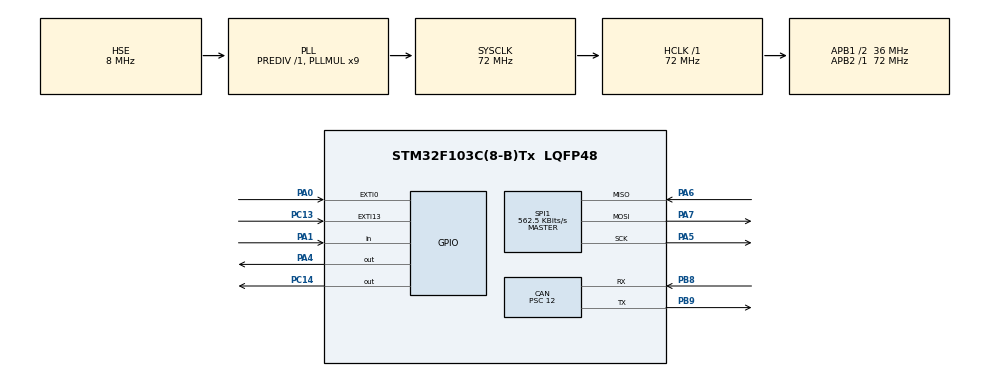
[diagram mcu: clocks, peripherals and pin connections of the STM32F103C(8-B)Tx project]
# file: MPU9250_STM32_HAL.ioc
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CAN.BS1=CAN_BS1_3TQ
CAN.BS2=CAN_BS2_2TQ
CAN.CalculateTimeBit=2000
CAN.CalculateTimeQuantum=333.33333333333337
CAN.Prescaler=12
CAN.SJW=CAN_SJW_2TQ
Mcu.Family=STM32F1
Mcu.Name=STM32F103C(8-B)Tx
Mcu.Package=LQFP48
NVIC.EXTI0_IRQn=true\:0\:0\:false\:true\:true\:2\:true
NVIC.EXTI15_10_IRQn=true\:0\:0\:false\:true\:true\:1\:true
NVIC.PriorityGroup=NVIC_PRIORITYGROUP_4
PA0-WKUP.Signal=GPXTI0
PA1.Signal=GPIO_Input
PA13.Mode=Serial_Wire
PA13.Signal=SYS_JTMS-SWDIO
PA14.Mode=Serial_Wire
PA14.Signal=SYS_JTCK-SWCLK
PA4.Signal=GPIO_Output
PA5.Mode=Full_Duplex_Master
PA5.Signal=SPI1_SCK
PA6.Mode=Full_Duplex_Master
PA6.Signal=SPI1_MISO
PA7.Mode=Full_Duplex_Master
PA7.Signal=SPI1_MOSI
PB8.Mode=Master
PB8.Signal=CAN_RX
PB9.Mode=Master
PB9.Signal=CAN_TX
PC13-TAMPER-RTC.GPIO_PuPd=GPIO_PULLDOWN
PC13-TAMPER-RTC.Signal=GPXTI13
PC14-OSC32_IN.Signal=GPIO_Output
PD0-OSC_IN.Mode=HSE-External-Oscillator
PD0-OSC_IN.Signal=RCC_OSC_IN
PD1-OSC_OUT.Mode=HSE-External-Oscillator
PD1-OSC_OUT.Signal=RCC_OSC_OUT
ProjectManager.HeapSize=0x200
ProjectManager.StackSize=0x400
ProjectManager.TargetToolchain=MDK-ARM V5
RCC.AHBFreq_Value=72000000
RCC.APB1CLKDivider=RCC_HCLK_DIV2
RCC.APB1Freq_Value=36000000
RCC.APB1TimFreq_Value=72000000
RCC.APB2Freq_Value=72000000
RCC.APB2TimFreq_Value=72000000
RCC.HCLKFreq_Value=72000000
RCC.PLLMUL=RCC_PLL_MUL9
RCC.PLLSourceVirtual=RCC_PLLSOURCE_HSE
RCC.SYSCLKFreq_VALUE=72000000
RCC.SYSCLKSource=RCC_SYSCLKSOURCE_PLLCLK
RCC.USBFreq_Value=48000000
RCC.USBPrescaler=RCC_USBCLKSOURCE_PLL_DIV1_5
SPI1.BaudRatePrescaler=SPI_BAUDRATEPRESCALER_128
SPI1.CalculateBaudRate=562.5 KBits/s
SPI1.Direction=SPI_DIRECTION_2LINES
SPI1.Mode=SPI_MODE_MASTER
SPI1.VirtualType=VM_MASTER
board=MPU9250_STM32_HAL

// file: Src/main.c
/**
  ******************************************************************************
  * @file           : main.c
  * @brief          : Main program body
  ******************************************************************************
  ** This notice applies to any and all portions of this file
  * that are not between comment pairs USER CODE BEGIN and
  * USER CODE END. Other portions of this file, whether
  * inserted by the user or by software development tools
  * are owned by their respective copyright owners.
  *
  * COPYRIGHT(c) 2018 STMicroelectronics
  *
  * Redistribution and use in source and binary forms, with or without modification,
  * are permitted provided that the following conditions are met:
  *   1. Redistributions of source code must retain the above copyright notice,
  *      this list of conditions and the following disclaimer.
  *   2. Redistributions in binary form must reproduce the above copyright notice,
  *      this list of conditions and the following disclaimer in the documentation
  *      and/or other materials provided with the distribution.
  *   3. Neither the name of STMicroelectronics nor the names of its contributors
  *      may be used to endorse or promote products derived from this software
  *      without specific prior written permission.
  *
  * THIS SOFTWARE IS PROVIDED BY THE COPYRIGHT HOLDERS AND CONTRIBUTORS "AS IS"
  * AND ANY EXPRESS OR IMPLIED WARRANTIES, INCLUDING, BUT NOT LIMITED TO, THE
  * IMPLIED WARRANTIES OF MERCHANTABILITY AND FITNESS FOR A PARTICULAR PURPOSE ARE
  * DISCLAIMED. IN NO EVENT SHALL THE COPYRIGHT HOLDER OR CONTRIBUTORS BE LIABLE
  * FOR ANY DIRECT, INDIRECT, INCIDENTAL, SPECIAL, EXEMPLARY, OR CONSEQUENTIAL
  * DAMAGES (INCLUDING, BUT NOT LIMITED TO, PROCUREMENT OF SUBSTITUTE GOODS OR
  * SERVICES; LOSS OF USE, DATA, OR PROFITS; OR BUSINESS INTERRUPTION) HOWEVER
  * CAUSED AND ON ANY THEORY OF LIABILITY, WHETHER IN CONTRACT, STRICT LIABILITY,
  * OR TORT (INCLUDING NEGLIGENCE OR OTHERWISE) ARISING IN ANY WAY OUT OF THE USE
  * OF THIS SOFTWARE, EVEN IF ADVISED OF THE POSSIBILITY OF SUCH DAMAGE.
  *
  ******************************************************************************
  */
#include "main.h"
#include "stm32f1xx_hal.h"

/* USER CODE BEGIN Includes */
#include "MPU9250_SPI.h"
#include "stdlib.h"
#include "string.h"

/* USER CODE END Includes */

CAN_HandleTypeDef hcan;

SPI_HandleTypeDef hspi1;

/* USER CODE BEGIN PV */
/* Private variables ---------------------------------------------------------*/
volatile uint16_t newDataFlag=0;
volatile uint16_t cdcPortOpenedFlag=0;
volatile uint16_t transmitFlag=0;
/* USER CODE END PV */

void SystemClock_Config(void);
static void MX_GPIO_Init(void);
static void MX_SPI1_Init(void);
static void MX_CAN_Init(void);
static void MX_NVIC_Init(void);

/* USER CODE BEGIN PFP */
/* Private function prototypes -----------------------------------------------*/

/* USER CODE END PFP */

int main(void)
{
  /* USER CODE BEGIN 1 */
	char outdata[100];
	int transmitGo=0;
	uint8_t canBuff[]="abcdefgh";
	struct mpuSensorData sensorData;
	struct DPL{
		int16_t h1;
		int16_t h2;
		struct mpuSensorData Data;
	};
	union{
		struct DPL Data;
		uint8_t buffer[24];
	  }Packet;
	union{
		struct{
			int16_t a;
			int16_t b;
			int16_t c;

		}Data;
		uint8_t buffer[6];
	}canMess;

	  CanTxMsgTypeDef TXmsg;
		CanRxMsgTypeDef RXmsg;
		hcan.pTxMsg=&TXmsg;
			TXmsg.IDE=CAN_ID_STD;
			TXmsg.RTR=CAN_RTR_DATA;
			TXmsg.StdId=2000;
			TXmsg.DLC=7;
  /* USER CODE END 1 */

  /* MCU Configuration----------------------------------------------------------*/

  /* Reset of all peripherals, Initializes the Flash interface and the Systick. */
  HAL_Init();

  /* Configure the system clock */
  SystemClock_Config();

  /* Initialize all configured peripherals */
  MX_GPIO_Init();
  MX_SPI1_Init();
  MX_CAN_Init();

  /* Initialize interrupts */
  MX_NVIC_Init();
  /* USER CODE BEGIN 2 */
	NSS_HIGH;
	uint8_t data=00;
	HAL_SPI_Transmit(&hspi1,&data,1,100); //init the spi interface pin states
	HAL_Delay(10);
	mpuBegin();
	//mpuMyCustomConfig();
  enableDataReadyInterrupt();
  /* USER CODE END 2 */

  /* Infinite loop */
  while (1)
  {

  /* USER CODE BEGIN 3 */
		if(newDataFlag){
			mpuReadSensor(&sensorData);
			if(transmitGo>4)								//100 Hz Data Transmit Rate
		  //if(transmitFlag==1)						//get in sync with the camera
			{
			transmitFlag=0;
			canMess.Data.a=sensorData.ax;
			canMess.Data.b=sensorData.ay;
			canMess.Data.c=sensorData.az;
			memcpy(&TXmsg.Data[0],canMess.buffer,6);
			TXmsg.Data[6]=1;
			HAL_CAN_Transmit(&hcan,100);
			canMess.Data.a=sensorData.gx;
			canMess.Data.b=sensorData.gy;
			canMess.Data.c=sensorData.gz;
			memcpy(&TXmsg.Data[0],canMess.buffer,6);
			TXmsg.Data[6]=2;
			HAL_CAN_Transmit(&hcan,100);
			canMess.Data.a=sensorData.hx;
			canMess.Data.b=sensorData.hy;
			canMess.Data.c=sensorData.hz;
			memcpy(&TXmsg.Data[0],canMess.buffer,6);
			TXmsg.Data[6]=3;
			HAL_CAN_Transmit(&hcan,100);
			transmitGo=0;
//		}else{
//			transmitGo++;
//		}
		newDataFlag=0;
		}

  }
  /* USER CODE END 3 */

}

void SystemClock_Config(void)
{

  RCC_OscInitTypeDef RCC_OscInitStruct;
  RCC_ClkInitTypeDef RCC_ClkInitStruct;

    /**Initializes the CPU, AHB and APB busses clocks
    */
  RCC_OscInitStruct.OscillatorType = RCC_OSCILLATORTYPE_HSE;
  RCC_OscInitStruct.HSEState = RCC_HSE_ON;
  RCC_OscInitStruct.HSEPredivValue = RCC_HSE_PREDIV_DIV1;
  RCC_OscInitStruct.HSIState = RCC_HSI_ON;
  RCC_OscInitStruct.PLL.PLLState = RCC_PLL_ON;
  RCC_OscInitStruct.PLL.PLLSource = RCC_PLLSOURCE_HSE;
  RCC_OscInitStruct.PLL.PLLMUL = RCC_PLL_MUL9;
  if (HAL_RCC_OscConfig(&RCC_OscInitStruct) != HAL_OK)
  {
    _Error_Handler(__FILE__, __LINE__);
  }

    /**Initializes the CPU, AHB and APB busses clocks
    */
  RCC_ClkInitStruct.ClockType = RCC_CLOCKTYPE_HCLK|RCC_CLOCKTYPE_SYSCLK
                              |RCC_CLOCKTYPE_PCLK1|RCC_CLOCKTYPE_PCLK2;
  RCC_ClkInitStruct.SYSCLKSource = RCC_SYSCLKSOURCE_PLLCLK;
  RCC_ClkInitStruct.AHBCLKDivider = RCC_SYSCLK_DIV1;
  RCC_ClkInitStruct.APB1CLKDivider = RCC_HCLK_DIV2;
  RCC_ClkInitStruct.APB2CLKDivider = RCC_HCLK_DIV1;

  if (HAL_RCC_ClockConfig(&RCC_ClkInitStruct, FLASH_LATENCY_2) != HAL_OK)
  {
    _Error_Handler(__FILE__, __LINE__);
  }

    /**Configure the Systick interrupt time
    */
  HAL_SYSTICK_Config(HAL_RCC_GetHCLKFreq()/1000);

    /**Configure the Systick
    */
  HAL_SYSTICK_CLKSourceConfig(SYSTICK_CLKSOURCE_HCLK);

  /* SysTick_IRQn interrupt configuration */
  HAL_NVIC_SetPriority(SysTick_IRQn, 0, 0);
}

/**
  * @brief NVIC Configuration.
  * @retval None
  */
static void MX_NVIC_Init(void)
{
  /* EXTI15_10_IRQn interrupt configuration */
  HAL_NVIC_SetPriority(EXTI15_10_IRQn, 0, 0);
  HAL_NVIC_EnableIRQ(EXTI15_10_IRQn);
  /* EXTI0_IRQn interrupt configuration */
  HAL_NVIC_SetPriority(EXTI0_IRQn, 0, 0);
  HAL_NVIC_EnableIRQ(EXTI0_IRQn);
}

/* CAN init function */
static void MX_CAN_Init(void)
{

  hcan.Instance = CAN1;
  hcan.Init.Prescaler = 12;
  hcan.Init.Mode = CAN_MODE_NORMAL;
  hcan.Init.SJW = CAN_SJW_2TQ;
  hcan.Init.BS1 = CAN_BS1_3TQ;
  hcan.Init.BS2 = CAN_BS2_2TQ;
  hcan.Init.TTCM = DISABLE;
  hcan.Init.ABOM = DISABLE;
  hcan.Init.AWUM = DISABLE;
  hcan.Init.NART = DISABLE;
  hcan.Init.RFLM = DISABLE;
  hcan.Init.TXFP = DISABLE;
  if (HAL_CAN_Init(&hcan) != HAL_OK)
  {
    _Error_Handler(__FILE__, __LINE__);
  }

}

/* SPI1 init function */
static void MX_SPI1_Init(void)
{

  /* SPI1 parameter configuration*/
  hspi1.Instance = SPI1;
  hspi1.Init.Mode = SPI_MODE_MASTER;
  hspi1.Init.Direction = SPI_DIRECTION_2LINES;
  hspi1.Init.DataSize = SPI_DATASIZE_8BIT;
  hspi1.Init.CLKPolarity = SPI_POLARITY_LOW;
  hspi1.Init.CLKPhase = SPI_PHASE_1EDGE;
  hspi1.Init.NSS = SPI_NSS_SOFT;
  hspi1.Init.BaudRatePrescaler = SPI_BAUDRATEPRESCALER_128;
  hspi1.Init.FirstBit = SPI_FIRSTBIT_MSB;
  hspi1.Init.TIMode = SPI_TIMODE_DISABLE;
  hspi1.Init.CRCCalculation = SPI_CRCCALCULATION_DISABLE;
  hspi1.Init.CRCPolynomial = 10;
  if (HAL_SPI_Init(&hspi1) != HAL_OK)
  {
    _Error_Handler(__FILE__, __LINE__);
  }

}

/** Configure pins as
        * Analog
        * Input
        * Output
        * EVENT_OUT
        * EXTI
*/
static void MX_GPIO_Init(void)
{

  GPIO_InitTypeDef GPIO_InitStruct;

  /* GPIO Ports Clock Enable */
  __HAL_RCC_GPIOC_CLK_ENABLE();
  __HAL_RCC_GPIOD_CLK_ENABLE();
  __HAL_RCC_GPIOA_CLK_ENABLE();
  __HAL_RCC_GPIOB_CLK_ENABLE();

  /*Configure GPIO pin Output Level */
  HAL_GPIO_WritePin(GPIOC, GPIO_PIN_14, GPIO_PIN_RESET);

  /*Configure GPIO pin Output Level */
  HAL_GPIO_WritePin(GPIOA, GPIO_PIN_4, GPIO_PIN_RESET);

  /*Configure GPIO pin : PC13 */
  GPIO_InitStruct.Pin = GPIO_PIN_13;
  GPIO_InitStruct.Mode = GPIO_MODE_IT_RISING;
  GPIO_InitStruct.Pull = GPIO_PULLDOWN;
  HAL_GPIO_Init(GPIOC, &GPIO_InitStruct);

  /*Configure GPIO pin : PC14 */
  GPIO_InitStruct.Pin = GPIO_PIN_14;
  GPIO_InitStruct.Mode = GPIO_MODE_OUTPUT_PP;
  GPIO_InitStruct.Speed = GPIO_SPEED_FREQ_LOW;
  HAL_GPIO_Init(GPIOC, &GPIO_InitStruct);

  /*Configure GPIO pin : PA0 */
  GPIO_InitStruct.Pin = GPIO_PIN_0;
  GPIO_InitStruct.Mode = GPIO_MODE_IT_RISING;
  GPIO_InitStruct.Pull = GPIO_NOPULL;
  HAL_GPIO_Init(GPIOA, &GPIO_InitStruct);

  /*Configure GPIO pin : PA1 */
  GPIO_InitStruct.Pin = GPIO_PIN_1;
  GPIO_InitStruct.Mode = GPIO_MODE_INPUT;
  GPIO_InitStruct.Pull = GPIO_NOPULL;
  HAL_GPIO_Init(GPIOA, &GPIO_InitStruct);

  /*Configure GPIO pin : PA4 */
  GPIO_InitStruct.Pin = GPIO_PIN_4;
  GPIO_InitStruct.Mode = GPIO_MODE_OUTPUT_PP;
  GPIO_InitStruct.Speed = GPIO_SPEED_FREQ_LOW;
  HAL_GPIO_Init(GPIOA, &GPIO_InitStruct);

}

void _Error_Handler(char *file, int line)
{
  while(1)
  {
  }
}

/************************ (C) COPYRIGHT STMicroelectronics *****END OF FILE****/
